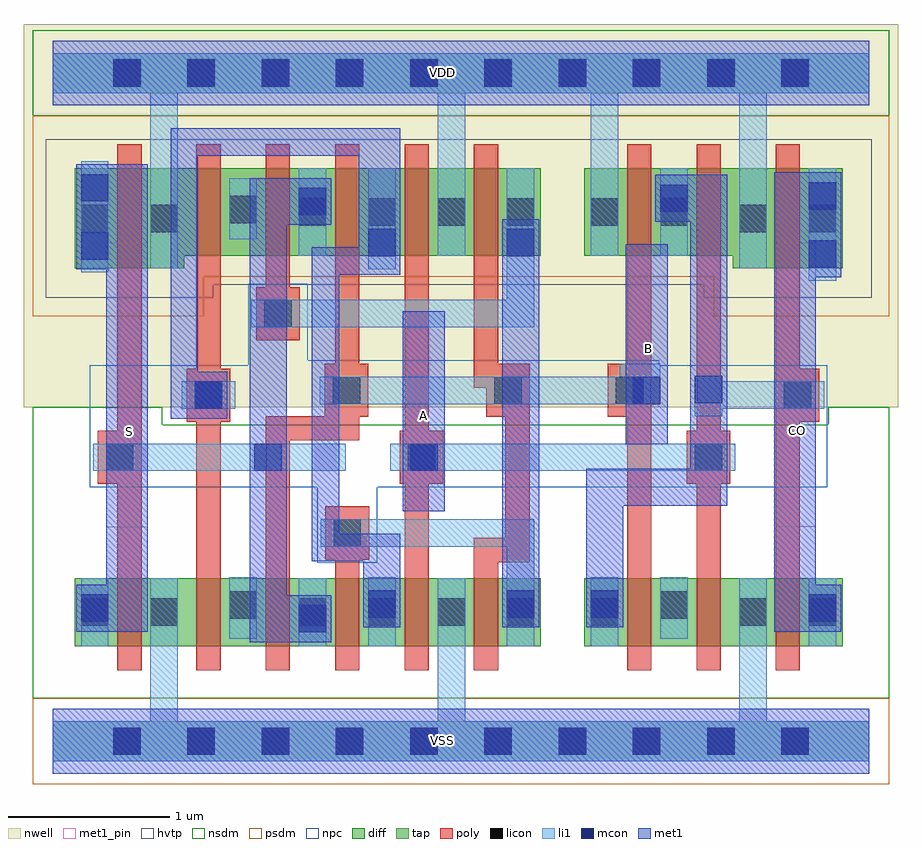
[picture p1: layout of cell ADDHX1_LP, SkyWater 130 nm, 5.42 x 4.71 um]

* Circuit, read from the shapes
.subckt ADDHX1_LP A B CO S VDD VSS
XM1 VSS n1 S VSS sky130_fd_pr__nfet_01v8 w=0.42 l=0.15
XM2 n2 n3 VSS VSS sky130_fd_pr__nfet_01v8 w=0.42 l=0.15
XM3 n1 B n2 VSS sky130_fd_pr__nfet_01v8 w=0.42 l=0.15
XM4 n3 n4 n1 VSS sky130_fd_pr__nfet_01v8 w=0.42 l=0.15
XM5 VSS A n3 VSS sky130_fd_pr__nfet_01v8 w=0.42 l=0.15
XM6 n4 B VSS VSS sky130_fd_pr__nfet_01v8 w=0.42 l=0.15
XM7 n5 B n6 VSS sky130_fd_pr__nfet_01v8 w=0.42 l=0.15
XM8 VSS A n5 VSS sky130_fd_pr__nfet_01v8 w=0.42 l=0.15
XM9 CO n6 VSS VSS sky130_fd_pr__nfet_01v8 w=0.42 l=0.15
XM10 VDD n1 S VDD sky130_fd_pr__pfet_01v8_hvt w=0.62 l=0.15
XM11 n7 n3 VDD VDD sky130_fd_pr__pfet_01v8_hvt w=0.54 l=0.15
XM12 n1 n4 n7 VDD sky130_fd_pr__pfet_01v8_hvt w=0.54 l=0.15
XM13 n3 B n1 VDD sky130_fd_pr__pfet_01v8_hvt w=0.54 l=0.15
XM14 VDD A n3 VDD sky130_fd_pr__pfet_01v8_hvt w=0.54 l=0.15
XM15 n4 B VDD VDD sky130_fd_pr__pfet_01v8_hvt w=0.54 l=0.15
XM16 n6 B VDD VDD sky130_fd_pr__pfet_01v8_hvt w=0.54 l=0.15
XM17 VDD A n6 VDD sky130_fd_pr__pfet_01v8_hvt w=0.54 l=0.15
XM18 CO n6 VDD VDD sky130_fd_pr__pfet_01v8_hvt w=0.62 l=0.15
.ends

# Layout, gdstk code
from math import pi, radians
import gdstk
lib = gdstk.Library(unit=1e-6, precision=1e-09)
def R(c, l, rs):  # rectangles x0, y0, x1, y1
    for r in rs: c.add(gdstk.rectangle(r[:2], r[2:], *l))
def A(c, l, x, y, w, h, nx, ny, dx, dy):  # array of equal rectangles
    R(c, l, [(x+i*dx, y+j*dy, x+i*dx+w, y+j*dy+h) for i in range(nx) for j in range(ny)])
def P(c, l, *ps):  # polygons
    for p in ps: c.add(gdstk.Polygon(p, *l))
nwell = (64, 20)
diff = (65, 20)
tap = (65, 44)
poly = (66, 20)
licon = (66, 44)
li1 = (67, 20)
mcon = (67, 44)
met1_pin = (68, 16)
met1 = (68, 20)
hvtp = (78, 44)
nsdm = (93, 44)
psdm = (94, 20)
npc = (95, 20)

l1m1_c_cdns_750721840976 = lib.new_cell('L1M1_C_CDNS_750721840976')
R(l1m1_c_cdns_750721840976, li1, [(-0.165,-0.165,0.085,0.085)])
R(l1m1_c_cdns_750721840976, mcon, [(-0.085,-0.085,0.085,0.085)])
R(l1m1_c_cdns_750721840976, met1, [(-0.115,-0.145,0.115,0.145)])

l1m1_c_cdns_750721840977 = lib.new_cell('L1M1_C_CDNS_750721840977')
R(l1m1_c_cdns_750721840977, li1, [(-0.085,-0.165,0.085,0.085)])
R(l1m1_c_cdns_750721840977, mcon, [(-0.085,-0.085,0.085,0.085)])
R(l1m1_c_cdns_750721840977, met1, [(-0.115,-0.145,0.115,0.145)])

l1m1_c_cdns_750721840971 = lib.new_cell('L1M1_C_CDNS_750721840971')
R(l1m1_c_cdns_750721840971, li1, [(-0.085,-0.165,0.085,0.165)])
R(l1m1_c_cdns_750721840971, mcon, [(-0.085,-0.085,0.085,0.085)])
R(l1m1_c_cdns_750721840971, met1, [(-0.115,-0.145,0.115,0.145)])

pyl1con_c_cdns_750721840 = lib.new_cell('PYL1CON_C_CDNS_750721840972')
R(pyl1con_c_cdns_750721840, poly, [(-0.135,-0.165,0.135,0.165)])
R(pyl1con_c_cdns_750721840, licon, [(-0.085,-0.085,0.085,0.085)])
R(pyl1con_c_cdns_750721840, npc, [(-0.185,-0.185,0.185,0.185)])

l1m1_c_cdns_750721840973 = lib.new_cell('L1M1_C_CDNS_750721840973')
R(l1m1_c_cdns_750721840973, li1, [(-0.165,-0.085,0.165,0.085)])
R(l1m1_c_cdns_750721840973, mcon, [(-0.085,-0.085,0.085,0.085)])
R(l1m1_c_cdns_750721840973, met1, [(-0.115,-0.145,0.115,0.145)])

licondiff_c_cdns_7507218 = lib.new_cell('LICONDIFF_C_CDNS_750721840974')
R(licondiff_c_cdns_7507218, diff, [(-0.125,-0.145,0.125,0.145)])
R(licondiff_c_cdns_7507218, licon, [(-0.085,-0.085,0.085,0.085), (-0.085,-0.085,0.085,0.085)])

l1m1_c_cdns_750721840975 = lib.new_cell('L1M1_C_CDNS_750721840975')
R(l1m1_c_cdns_750721840975, li1, [(-0.085,-0.345,0.085,0.345)])
R(l1m1_c_cdns_750721840975, mcon, [(-0.085,-0.265,0.085,-0.095), (-0.085,0.095,0.085,0.265)])
R(l1m1_c_cdns_750721840975, met1, [(-0.115,-0.325,0.115,0.325)])

addhx1_lp = lib.new_cell('ADDHX1_LP')
R(addhx1_lp, nwell, [(-0.18,2.07,5.24,4.305), (-0.045,2.75,0.995,3.73), (4.035,2.75,5.075,3.73), (0.635,2.83,1.275,3.73), (0.915,2.83,1.875,3.73), (1.515,2.83,2.305,3.73), (1.945,2.83,2.735,3.73), (2.375,2.83,3.205,3.73), (3.115,2.83,4.115,3.73), (3.755,2.83,4.395,3.73), (-0.18,3.875,5.24,4.445)])
A(addhx1_lp, diff, 0.89, 0.59, 0.15, 0.42, 5, 1, 0.43, 0)
A(addhx1_lp, diff, 0.89, 3.01, 0.15, 0.54, 5, 1, 0.43, 0)
A(addhx1_lp, diff, 1.47, 3.01, 0.225, 0.54, 3, 1, 0.43, 0)
A(addhx1_lp, diff, 1.695, 3.01, 0.055, 0.54, 3, 1, 0.43, 0)
R(addhx1_lp, diff, [(0.135,0.59,0.4,1.01), (0.4,0.59,0.55,1.01), (0.55,0.59,0.815,1.01), (0.815,0.59,0.89,1.01), (1.04,0.59,1.265,1.01), (1.265,0.59,1.32,1.01), (1.47,0.59,1.695,1.01), (1.695,0.59,1.75,1.01), (1.9,0.59,1.955,1.01), (1.955,0.59,2.18,1.01), (2.33,0.59,2.385,1.01), (2.385,0.59,2.61,1.01), (2.76,0.59,3.025,1.01), (3.295,0.59,3.56,1.01), (3.56,0.59,3.71,1.01), (3.71,0.59,3.765,1.01), (3.765,0.59,3.99,1.01), (3.99,0.59,4.14,1.01), (4.14,0.59,4.215,1.01), (4.215,0.59,4.48,1.01), (4.48,0.59,4.63,1.01), (4.63,0.59,4.895,1.01), (0.135,2.93,0.4,3.55), (0.4,2.93,0.55,3.55), (0.55,2.93,0.815,3.55), (4.215,2.93,4.48,3.55), (4.48,2.93,4.63,3.55), (4.63,2.93,4.895,3.55), (0.815,3.01,0.89,3.55), (1.04,3.01,1.095,3.55), (1.095,3.01,1.32,3.55), (2.76,3.01,3.025,3.55), (3.295,3.01,3.56,3.55), (3.56,3.01,3.71,3.55), (3.71,3.01,3.935,3.55), (3.935,3.01,3.99,3.55), (3.99,3.01,4.14,3.55), (4.14,3.01,4.215,3.55)])
A(addhx1_lp, poly, 0.89, 0.44, 0.15, 0.055, 5, 2, 0.43, 0.665)
A(addhx1_lp, poly, 0.89, 0.495, 0.15, 0.095, 5, 2, 0.43, 0.515)
A(addhx1_lp, poly, 0.89, 0.59, 0.15, 0.42, 5, 1, 0.43, 0)
A(addhx1_lp, poly, 0.89, 2.86, 0.15, 0.055, 5, 2, 0.43, 0.785)
A(addhx1_lp, poly, 0.89, 2.915, 0.15, 0.095, 5, 2, 0.43, 0.635)
A(addhx1_lp, poly, 0.89, 3.01, 0.15, 0.54, 5, 1, 0.43, 0)
R(addhx1_lp, poly, [(0.4,0.44,0.55,0.495), (3.56,0.44,3.71,0.495), (3.99,0.44,4.14,0.495), (4.48,0.44,4.63,0.495), (0.4,0.495,0.55,0.59), (3.56,0.495,3.71,0.59), (3.99,0.495,4.14,0.59), (4.48,0.495,4.63,0.59), (0.4,0.59,0.55,1.01), (3.56,0.59,3.71,1.01), (3.99,0.59,4.14,1.01), (4.48,0.59,4.63,1.01), (0.4,1.01,0.55,1.105), (3.56,1.01,3.71,1.105), (3.99,1.01,4.14,1.105), (4.48,1.01,4.63,1.105), (0.4,1.105,0.55,1.16), (3.56,1.105,3.71,1.16), (3.99,1.105,4.14,1.16), (4.48,1.105,4.63,1.16), (0.4,2.78,0.55,2.835), (4.48,2.78,4.63,2.835), (0.4,2.835,0.55,2.93), (4.48,2.835,4.63,2.93), (3.56,2.86,3.71,2.915), (3.99,2.86,4.14,2.915), (3.56,2.915,3.71,3.01), (3.99,2.915,4.14,3.01), (0.4,2.93,0.55,3.55), (4.48,2.93,4.63,3.55), (3.56,3.01,3.71,3.55), (3.99,3.01,4.14,3.55), (0.4,3.55,0.55,3.645), (3.56,3.55,3.71,3.645), (3.99,3.55,4.14,3.645), (4.48,3.55,4.63,3.645), (0.4,3.645,0.55,3.7), (3.56,3.645,3.71,3.7), (3.99,3.645,4.14,3.7), (4.48,3.645,4.63,3.7)])
A(addhx1_lp, licon, 0.375, -0.085, 0.17, 0.17, 10, 2, 0.46, 4.14)
A(addhx1_lp, licon, 1.525, 0.715, 0.17, 0.17, 4, 2, 0.43, 2.48)
R(addhx1_lp, licon, [(0.175,0.715,0.345,0.885), (0.605,0.715,0.775,0.885), (3.335,0.715,3.505,0.885), (4.255,0.715,4.425,0.885), (4.685,0.715,4.855,0.885), (0.175,3.155,0.345,3.325), (0.605,3.155,0.775,3.325), (4.255,3.155,4.425,3.325), (4.685,3.155,4.855,3.325), (3.335,3.195,3.505,3.365), (3.765,3.195,3.935,3.365)])
A(addhx1_lp, li1, 1.525, 0.59, 0.17, 0.42, 4, 1, 0.43, 0)
A(addhx1_lp, li1, 1.525, 3.01, 0.17, 0.54, 4, 1, 0.43, 0)
R(addhx1_lp, li1, [(0.175,0.59,0.345,1.01), (0.605,0.59,0.775,1.01), (3.335,0.59,3.505,1.01), (4.255,0.59,4.425,1.01), (4.685,0.59,4.855,1.01), (0.175,2.93,0.345,3.55), (0.605,2.93,0.775,3.55), (4.255,2.93,4.425,3.55), (4.685,2.93,4.855,3.55), (3.335,3.01,3.505,3.55), (3.765,3.01,3.935,3.55)])
A(addhx1_lp, mcon, 0.375, -0.085, 0.17, 0.17, 10, 2, 0.46, 4.14)
R(addhx1_lp, met1_pin, [(0.33,1.325,0.59,3.09), (4.47,1.33,4.73,3.09), (2.17,1.425,2.43,2.665), (3.55,1.84,3.81,3.08)])
R(addhx1_lp, met1, [(1.925,0.705,2.155,1.285), (1.895,2.89,2.155,3.635)])
R(addhx1_lp, hvtp, [(-0.045,2.75,0.995,3.73), (4.035,2.75,5.075,3.73), (0.635,2.83,1.275,3.73), (0.915,2.83,1.875,3.73), (1.515,2.83,2.305,3.73), (1.945,2.83,2.735,3.73), (2.375,2.83,3.205,3.73), (3.115,2.83,4.115,3.73), (3.755,2.83,4.395,3.73)])
R(addhx1_lp, nsdm, [(-0.005,0.46,0.955,1.14), (0.935,0.46,1.275,1.14), (1.255,0.46,1.705,1.14), (1.685,0.46,1.965,1.14), (1.945,0.46,2.395,1.14), (2.375,0.46,3.165,1.14), (3.155,0.46,3.775,1.14), (3.755,0.46,4.095,1.14), (4.075,0.46,5.035,1.14), (-0.125,3.875,5.185,4.405), (-0.125,3.93,5.185,4.35)])
P(addhx1_lp, nsdm, [(5.185,2.07),(4.805,2.07),(4.805,1.96),(0.68,1.96),(0.68,2.07),(-0.125,2.07),(-0.125,0.265),(5.185,0.265)])
R(addhx1_lp, psdm, [(-0.125,-0.265,5.185,0.265), (-0.125,-0.21,5.185,0.21), (-0.005,2.88,0.955,3.68), (0.935,2.88,1.105,3.68), (1.085,2.88,1.705,3.68), (1.685,2.88,2.135,3.68), (2.115,2.88,2.565,3.68), (2.545,2.88,3.165,3.68), (3.155,2.88,3.945,3.68), (3.925,2.88,4.095,3.68), (4.075,2.88,5.035,3.68)])
P(addhx1_lp, psdm, [(5.185,3.875),(-0.125,3.875),(-0.125,2.635),(0.935,2.635),(0.935,2.88),(4.095,2.88),(4.095,2.635),(5.185,2.635)])
R(addhx1_lp, npc, [(1.64,1.105,2.01,1.625), (1.21,2.23,1.58,2.835)])
P(addhx1_lp, npc, [(4.8,2.33),(3.76,2.33),(3.76,2.36),(1.21,2.36),(1.21,2.33),(0.23,2.33),(0.23,1.575),(4.8,1.575)])
addhx1_lp.add(gdstk.FlexPath([(4.34,0.59),(4.34,0)], 0.17, ends=(0, 0.125), simple_path=True, layer=67, datatype=20))  # li1
addhx1_lp.add(gdstk.FlexPath([(4.34,0),(5.06,0)], 0.25, ends=(0.085, 0), simple_path=True, layer=67, datatype=20))  # li1
addhx1_lp.add(gdstk.FlexPath([(0.69,0),(2.47,0)], 0.25, ends=(0.085, 0.085), simple_path=True, layer=67, datatype=20))  # li1
addhx1_lp.add(gdstk.FlexPath([(2.47,0),(3.42,0)], 0.25, ends=(0.085, 0.085), simple_path=True, layer=67, datatype=20))  # li1
addhx1_lp.add(gdstk.FlexPath([(3.42,0),(4.34,0)], 0.25, ends=(0.085, 0.085), simple_path=True, layer=67, datatype=20))  # li1
addhx1_lp.add(gdstk.FlexPath([(0,0),(0.69,0)], 0.25, ends=(0, 0.085), simple_path=True, layer=67, datatype=20))  # li1
addhx1_lp.add(gdstk.FlexPath([(2.47,4.14),(3.42,4.14)], 0.25, ends=(0.085, 0.085), simple_path=True, layer=67, datatype=20))  # li1
addhx1_lp.add(gdstk.FlexPath([(2.47,3.55),(2.47,4.14)], 0.17, ends=(0, 0.125), simple_path=True, layer=67, datatype=20))  # li1
addhx1_lp.add(gdstk.FlexPath([(0.69,3.55),(0.69,4.14)], 0.17, ends=(0, 0.125), simple_path=True, layer=67, datatype=20))  # li1
addhx1_lp.add(gdstk.FlexPath([(4.34,4.14),(5.06,4.14)], 0.25, ends=(0.085, 0), simple_path=True, layer=67, datatype=20))  # li1
addhx1_lp.add(gdstk.FlexPath([(4.34,3.55),(4.34,4.14)], 0.17, ends=(0, 0.125), simple_path=True, layer=67, datatype=20))  # li1
addhx1_lp.add(gdstk.FlexPath([(0.69,4.14),(2.47,4.14)], 0.25, ends=(0.085, 0.085), simple_path=True, layer=67, datatype=20))  # li1
addhx1_lp.add(gdstk.FlexPath([(0,4.14),(0.69,4.14)], 0.25, ends=(0, 0.085), simple_path=True, layer=67, datatype=20))  # li1
addhx1_lp.add(gdstk.FlexPath([(1.18,3.11),(1.18,3.49)], 0.17, ends="flush", simple_path=True, layer=67, datatype=20))  # li1
addhx1_lp.add(gdstk.FlexPath([(3.85,0.635),(3.85,1.015)], 0.17, ends="flush", simple_path=True, layer=67, datatype=20))  # li1
addhx1_lp.add(gdstk.FlexPath([(1.18,0.635),(1.18,1.015)], 0.17, ends="flush", simple_path=True, layer=67, datatype=20))  # li1
addhx1_lp.add(gdstk.FlexPath([(0.69,0.59),(0.69,0)], 0.17, ends=(0, 0.125), simple_path=True, layer=67, datatype=20))  # li1
addhx1_lp.add(gdstk.FlexPath([(1.815,1.76),(0.25,1.76)], 0.17, ends="flush", simple_path=True, layer=67, datatype=20))  # li1
addhx1_lp.add(gdstk.FlexPath([(2.9,3.14),(2.815,3.14)], 0.17, ends=(0.085, 0), simple_path=True, layer=67, datatype=20))  # li1
addhx1_lp.add(gdstk.FlexPath([(2.9,2.65),(2.9,3.14)], 0.17, ends="extended", simple_path=True, layer=67, datatype=20))  # li1
addhx1_lp.add(gdstk.FlexPath([(1.23,2.65),(2.9,2.65)], 0.17, ends=(0, 0.085), simple_path=True, layer=67, datatype=20))  # li1
addhx1_lp.add(gdstk.FlexPath([(2.9,0.8),(2.815,0.8)], 0.17, ends=(0.085, 0), simple_path=True, layer=67, datatype=20))  # li1
addhx1_lp.add(gdstk.FlexPath([(2.9,1.29),(2.9,0.8)], 0.17, ends="extended", simple_path=True, layer=67, datatype=20))  # li1
addhx1_lp.add(gdstk.FlexPath([(1.66,1.29),(2.9,1.29)], 0.17, ends=(0, 0.085), simple_path=True, layer=67, datatype=20))  # li1
addhx1_lp.add(gdstk.FlexPath([(3.42,3.55),(3.42,4.14)], 0.17, ends=(0, 0.125), simple_path=True, layer=67, datatype=20))  # li1
addhx1_lp.add(gdstk.FlexPath([(2.09,1.76),(4.23,1.76)], 0.17, ends="flush", simple_path=True, layer=67, datatype=20))  # li1
addhx1_lp.add(gdstk.FlexPath([(3.42,4.14),(4.34,4.14)], 0.25, ends=(0.085, 0.085), simple_path=True, layer=67, datatype=20))  # li1
addhx1_lp.add(gdstk.FlexPath([(2.47,0.59),(2.47,0)], 0.17, ends=(0, 0.125), simple_path=True, layer=67, datatype=20))  # li1
addhx1_lp.add(gdstk.FlexPath([(1.655,2.175),(3.74,2.175)], 0.17, ends="flush", simple_path=True, layer=67, datatype=20))  # li1
addhx1_lp.add(gdstk.FlexPath([(4.065,2.145),(4.78,2.145)], 0.17, ends=(0.085, 0), simple_path=True, layer=67, datatype=20))  # li1
addhx1_lp.add(gdstk.FlexPath([(1.395,2.86),(1.395,2.65)], 0.15, ends="flush", simple_path=True, layer=66, datatype=20))  # poly
addhx1_lp.add(gdstk.FlexPath([(2.88,1.185),(2.61,1.185)], 0.15, ends=(0.075, 0), simple_path=True, layer=66, datatype=20))  # poly
addhx1_lp.add(gdstk.FlexPath([(2.685,2.86),(2.685,2.19)], 0.15, ends="flush", simple_path=True, layer=66, datatype=20))  # poly
addhx1_lp.add(gdstk.FlexPath([(1.395,1.94),(1.395,1.13)], 0.15, ends=(0.075, 0), simple_path=True, layer=66, datatype=20))  # poly
addhx1_lp.add(gdstk.FlexPath([(1.825,1.94),(1.395,1.94)], 0.15, ends="extended", simple_path=True, layer=66, datatype=20))  # poly
addhx1_lp.add(gdstk.FlexPath([(1.825,2.86),(1.825,1.94)], 0.15, ends=(0, 0.075), simple_path=True, layer=66, datatype=20))  # poly
addhx1_lp.add(gdstk.FlexPath([(4.555,2.78),(4.555,1.16)], 0.15, ends="flush", simple_path=True, layer=66, datatype=20))  # poly
addhx1_lp.add(gdstk.FlexPath([(4.065,2.86),(4.065,1.11)], 0.15, ends="flush", simple_path=True, layer=66, datatype=20))  # poly
addhx1_lp.add(gdstk.FlexPath([(3.635,2.86),(3.635,1.11)], 0.15, ends="flush", simple_path=True, layer=66, datatype=20))  # poly
addhx1_lp.add(gdstk.FlexPath([(0.475,1.16),(0.475,2.78)], 0.15, ends="flush", simple_path=True, layer=66, datatype=20))  # poly
addhx1_lp.add(gdstk.FlexPath([(0.965,2.86),(0.965,1.11)], 0.15, ends="flush", simple_path=True, layer=66, datatype=20))  # poly
addhx1_lp.add(gdstk.FlexPath([(2.255,2.86),(2.255,1.11)], 0.15, ends="flush", simple_path=True, layer=66, datatype=20))  # poly
addhx1_lp.add(gdstk.FlexPath([(2.88,2.34),(2.88,1.185)], 0.15, ends=(0, 0.075), simple_path=True, layer=66, datatype=20))  # poly
addhx1_lp.add(gdstk.FlexPath([(4.6,2.6),(4.6,3.525)], 0.26, ends="flush", simple_path=True, layer=68, datatype=20))  # met1
addhx1_lp.add(gdstk.FlexPath([(1.61,3.345),(1.335,3.345)], 0.29, ends="flush", simple_path=True, layer=68, datatype=20))  # met1
addhx1_lp.add(gdstk.FlexPath([(0,0),(5.06,0)], 0.4, ends="flush", simple_path=True, layer=68, datatype=20))  # met1
addhx1_lp.add(gdstk.FlexPath([(0,4.14),(5.06,4.14)], 0.4, ends="flush", simple_path=True, layer=68, datatype=20))  # met1
addhx1_lp.add(gdstk.FlexPath([(2.04,2.975),(2.04,3.055)], 0.17, ends="extended", simple_path=True, layer=68, datatype=20))  # met1
addhx1_lp.add(gdstk.FlexPath([(1.61,0.76),(1.335,0.76)], 0.29, ends="flush", simple_path=True, layer=68, datatype=20))  # met1
addhx1_lp.add(gdstk.FlexPath([(2.3,1.425),(2.3,2.665)], 0.26, ends="flush", simple_path=True, layer=68, datatype=20))  # met1
addhx1_lp.add(gdstk.FlexPath([(3.68,1.84),(3.68,3.08)], 0.26, ends="flush", simple_path=True, layer=68, datatype=20))  # met1
addhx1_lp.add(gdstk.FlexPath([(0.46,0.68),(0.46,3.09)], 0.26, ends="flush", simple_path=True, layer=68, datatype=20))  # met1
addhx1_lp.add(gdstk.FlexPath([(4.6,0.68),(4.6,3.09)], 0.26, ends="flush", simple_path=True, layer=68, datatype=20))  # met1
addhx1_lp.add(gdstk.FlexPath([(0.815,3.715),(0.815,2)], 0.17, ends=(0.085, 0), simple_path=True, layer=68, datatype=20))  # met1
addhx1_lp.add(gdstk.FlexPath([(2.07,3.055),(2.07,3.715)], 0.17, ends="extended", simple_path=True, layer=68, datatype=20))  # met1
addhx1_lp.add(gdstk.FlexPath([(2.07,3.715),(0.815,3.715)], 0.17, ends="extended", simple_path=True, layer=68, datatype=20))  # met1
addhx1_lp.add(gdstk.FlexPath([(1.69,1.2),(1.69,2.975)], 0.17, ends="extended", simple_path=True, layer=68, datatype=20))  # met1
addhx1_lp.add(gdstk.FlexPath([(2.04,1.2),(1.69,1.2)], 0.17, ends="extended", simple_path=True, layer=68, datatype=20))  # met1
addhx1_lp.add(gdstk.FlexPath([(2.04,3.055),(2.07,3.055)], 0.17, ends="extended", simple_path=True, layer=68, datatype=20))  # met1
addhx1_lp.add(gdstk.FlexPath([(0.46,2.685),(0.46,3.575)], 0.26, ends="flush", simple_path=True, layer=68, datatype=20))  # met1
addhx1_lp.add(gdstk.FlexPath([(1.69,2.975),(2.04,2.975)], 0.17, ends="extended", simple_path=True, layer=68, datatype=20))  # met1
addhx1_lp.add(gdstk.FlexPath([(4.065,1.575),(4.065,3.51)], 0.23, ends=(0.115, 0), simple_path=True, layer=68, datatype=20))  # met1
addhx1_lp.add(gdstk.FlexPath([(3.42,1.575),(3.85,1.575)], 0.23, ends="extended", simple_path=True, layer=68, datatype=20))  # met1
addhx1_lp.add(gdstk.FlexPath([(3.42,0.705),(3.42,1.575)], 0.23, ends=(0, 0.115), simple_path=True, layer=68, datatype=20))  # met1
addhx1_lp.add(gdstk.FlexPath([(1.335,3.49),(1.335,0.615)], 0.23, ends="flush", simple_path=True, layer=68, datatype=20))  # met1
addhx1_lp.add(gdstk.FlexPath([(2.04,0.85),(2.04,1.2)], 0.17, ends=(0, 0.085), simple_path=True, layer=68, datatype=20))  # met1
addhx1_lp.add(gdstk.FlexPath([(2.9,0.705),(2.9,3.235)], 0.23, ends="flush", simple_path=True, layer=68, datatype=20))  # met1
addhx1_lp.add(gdstk.FlexPath([(0,0),(5.06,0)], 0.25, ends="flush", simple_path=True, layer=65, datatype=44))  # tap
addhx1_lp.add(gdstk.FlexPath([(0,4.14),(5.06,4.14)], 0.25, ends="flush", simple_path=True, layer=65, datatype=44))  # tap
addhx1_lp.add(gdstk.FlexPath([(0,4.14),(5.06,4.14)], 0.4, ends="flush", simple_path=True, layer=68, datatype=16))  # met1_pin
addhx1_lp.add(gdstk.FlexPath([(0,0),(5.06,0)], 0.4, ends="flush", simple_path=True, layer=68, datatype=16))  # met1_pin
addhx1_lp.add(gdstk.Reference(l1m1_c_cdns_750721840976, (3.68,2.175), x_reflection=True))
addhx1_lp.add(gdstk.Reference(l1m1_c_cdns_750721840977, (4.065,2.18)))
addhx1_lp.add(gdstk.Reference(l1m1_c_cdns_750721840971, (4.77,0.825)))
addhx1_lp.add(gdstk.Reference(l1m1_c_cdns_750721840971, (3.85,3.365)))
addhx1_lp.add(gdstk.Reference(l1m1_c_cdns_750721840971, (3.42,0.85)))
addhx1_lp.add(gdstk.Reference(l1m1_c_cdns_750721840971, (0.26,0.825), rotation=pi, x_reflection=True))
addhx1_lp.add(gdstk.Reference(l1m1_c_cdns_750721840971, (1.61,3.345), rotation=pi, x_reflection=True))
addhx1_lp.add(gdstk.Reference(l1m1_c_cdns_750721840971, (1.61,0.76), rotation=pi, x_reflection=True))
addhx1_lp.add(gdstk.Reference(l1m1_c_cdns_750721840971, (2.04,3.09), rotation=pi, x_reflection=True))
addhx1_lp.add(gdstk.Reference(l1m1_c_cdns_750721840971, (2.04,0.85), rotation=pi, x_reflection=True))
addhx1_lp.add(gdstk.Reference(l1m1_c_cdns_750721840971, (2.9,3.09), rotation=pi, x_reflection=True))
addhx1_lp.add(gdstk.Reference(l1m1_c_cdns_750721840971, (2.9,0.85), rotation=pi, x_reflection=True))
addhx1_lp.add(gdstk.Reference(pyl1con_c_cdns_750721840, (0.415,1.76)))
addhx1_lp.add(gdstk.Reference(pyl1con_c_cdns_750721840, (0.965,2.145), x_reflection=True))
addhx1_lp.add(gdstk.Reference(pyl1con_c_cdns_750721840, (2.285,1.76)))
addhx1_lp.add(gdstk.Reference(pyl1con_c_cdns_750721840, (4.065,1.76)))
addhx1_lp.add(gdstk.Reference(pyl1con_c_cdns_750721840, (4.615,2.145)))
addhx1_lp.add(gdstk.Reference(pyl1con_c_cdns_750721840, (3.575,2.175)))
addhx1_lp.add(gdstk.Reference(pyl1con_c_cdns_750721840, (1.82,2.175), rotation=pi))
addhx1_lp.add(gdstk.Reference(pyl1con_c_cdns_750721840, (2.82,2.175)))
addhx1_lp.add(gdstk.Reference(pyl1con_c_cdns_750721840, (1.825,1.29)))
addhx1_lp.add(gdstk.Reference(pyl1con_c_cdns_750721840, (1.395,2.65), rotation=pi))
addhx1_lp.add(gdstk.Reference(l1m1_c_cdns_750721840973, (2.3,1.76), x_reflection=True))
addhx1_lp.add(gdstk.Reference(l1m1_c_cdns_750721840973, (1.335,1.76)))
addhx1_lp.add(gdstk.Reference(l1m1_c_cdns_750721840973, (0.965,2.145)))
addhx1_lp.add(gdstk.Reference(licondiff_c_cdns_7507218, (1.18,3.295)))
addhx1_lp.add(gdstk.Reference(licondiff_c_cdns_7507218, (3.85,0.845)))
addhx1_lp.add(gdstk.Reference(licondiff_c_cdns_7507218, (1.18,0.845)))
addhx1_lp.add(gdstk.Reference(l1m1_c_cdns_750721840975, (4.77,3.2)))
addhx1_lp.add(gdstk.Reference(l1m1_c_cdns_750721840975, (0.26,3.25), rotation=pi, x_reflection=True))
addhx1_lp.add(gdstk.Label('VDD', (2.415,4.145), layer=68, texttype=5))
addhx1_lp.add(gdstk.Label('CO', (4.615,1.925), layer=68, texttype=5))
addhx1_lp.add(gdstk.Label('B', (3.695,2.435), layer=68, texttype=5))
addhx1_lp.add(gdstk.Label('S', (0.475,1.92), layer=68, texttype=5))
addhx1_lp.add(gdstk.Label('A', (2.295,2.02), layer=68, texttype=5))
addhx1_lp.add(gdstk.Label('VSS', (2.415,0.005), layer=68, texttype=5))

lib.write_gds('ADDHX1_LP.gds')
